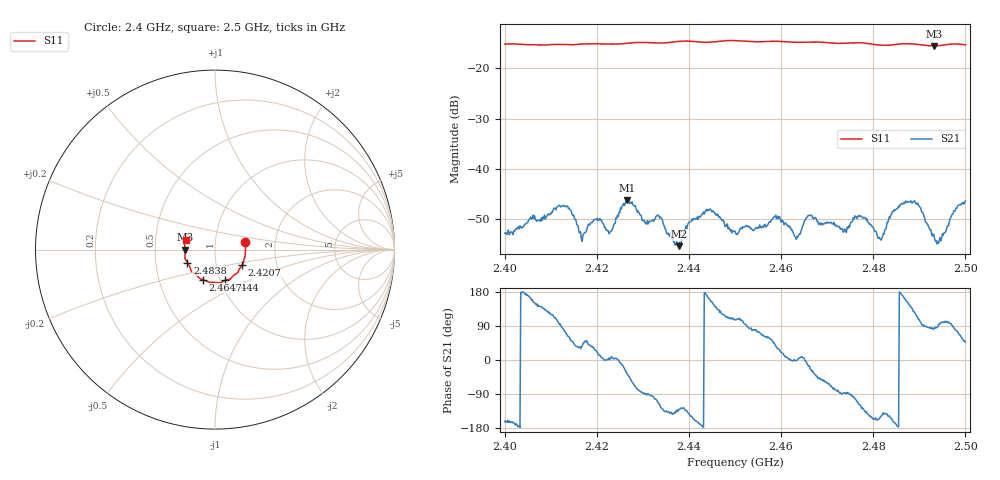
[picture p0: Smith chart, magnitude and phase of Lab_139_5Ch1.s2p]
# Hz S RI R 50
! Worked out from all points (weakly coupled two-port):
!   601 points, 2.4 GHz to 2.5 GHz, reference 50 ohm
!   highest |S21| = -46.19 dB at 2.4265 GHz (marker M1); lowest = -55.3 dB at 2.4378 GHz (marker M2)
!   lowest |S11| = -15.6 dB at 2.4932 GHz (marker M3), VSWR 1.40, Z = 35.8 - j0.0739 ohm
!   |S11| at or under -10 dB: start of sweep to end of sweep
!   S12 and S22 are empty: the file has one direction only
!   S11 on the Smith chart (normalised r, x): 2.4 GHz: 1.40, +0.12; 2.4207 GHz: 1.33, -0.24; 2.444 GHz: 1.06, -0.37; 2.4647 GHz: 0.83, -0.29; 2.4838 GHz: 0.73, -0.11; 2.5 GHz: 0.72, +0.08
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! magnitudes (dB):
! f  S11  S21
! 2.4 GHz  -15.3  -52.8
! 2.4123 GHz  -15.3  -47.4
! 2.4167 GHz  -15.2  -54.0
! 2.4207 GHz  -15.2  -49.8
! 2.423 GHz  -15.2  -52.5
! 2.4265 GHz  -15.1  -46.2
! 2.4333 GHz  -15.0  -49.1
! 2.4378 GHz  -14.7  -55.3
! 2.444 GHz  -14.9  -48.3
! 2.45 GHz  -14.5  -52.3
! 2.459 GHz  -14.7  -49.9
! 2.4632 GHz  -14.9  -53.6
! 2.4647 GHz  -14.9  -51.3
! 2.4667 GHz  -14.8  -49.2
! 2.4737 GHz  -15.1  -52.3
! 2.4778 GHz  -15.0  -49.8
! 2.4815 GHz  -15.4  -53.9
! 2.4833 GHz  -15.5  -50.1
! 2.4838 GHz  -15.4  -49.0
! 2.4892 GHz  -15.3  -46.9
! 2.4932 GHz  -15.6  -53.1
! 2.5 GHz  -15.4  -46.3
